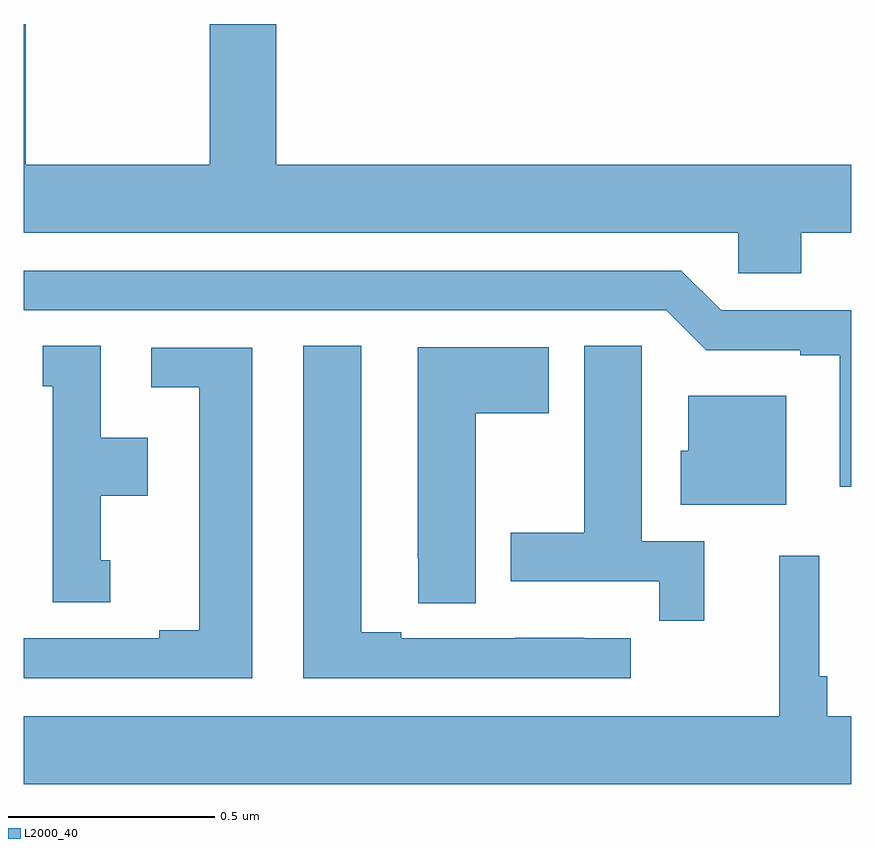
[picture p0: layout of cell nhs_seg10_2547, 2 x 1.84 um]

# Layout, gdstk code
import gdstk
lib = gdstk.Library(unit=1e-6, precision=1e-09)
def P(c, l, *ps):  # polygons
    for p in ps: c.add(gdstk.Polygon(p, *l))
L2000_40 = (2000, 40)

nhs_seg10_2547 = lib.new_cell('nhs_seg10_2547')
P(nhs_seg10_2547, L2000_40, [(143.879,1286.996),(144,1286.996),(144,1287.16),(142.61,1287.16),(142.61,1287.5),(142.45,1287.5),(142.45,1287.16),(142.005,1287.16),(142.005,1287.5),(142,1287.5),(142,1286.996),(143.727,1286.996),(143.727,1286.898),(143.879,1286.898)],
  [(144,1286.808),(143.685,1286.808),(143.589,1286.904),(142,1286.904),(142,1286.808),(143.553,1286.808),(143.649,1286.712),(143.876,1286.712),(143.876,1286.7),(143.972,1286.7),(143.972,1286.382),(144,1286.382)],
  [(143.467,1286.016),(143.354,1286.016),(143.354,1286.017),(143.188,1286.017),(143.188,1286.016),(142.912,1286.016),(142.912,1286.031),(142.816,1286.031),(142.816,1286.723),(142.676,1286.723),(142.676,1285.92),(143.467,1285.92)],
  [(143.645,1286.25),(143.494,1286.25),(143.494,1286.612),(143.493,1286.612),(143.493,1286.723),(143.354,1286.723),(143.354,1286.271),(143.177,1286.271),(143.177,1286.154),(143.536,1286.154),(143.536,1286.058),(143.645,1286.058)],
  [(142.21,1286.205),(142.186,1286.205),(142.186,1286.36),(142.3,1286.36),(142.3,1286.5),(142.186,1286.5),(142.186,1286.723),(142.046,1286.723),(142.046,1286.625),(142.07,1286.625),(142.07,1286.103),(142.21,1286.103)],
  [(143.092,1286.56),(143.269,1286.56),(143.269,1286.719),(142.952,1286.719),(142.952,1286.209),(142.953,1286.209),(142.953,1286.101),(143.092,1286.101)],
  [(142.552,1286.718),(142.308,1286.718),(142.308,1286.622),(142.424,1286.622),(142.424,1286.036),(142.328,1286.036),(142.328,1286.016),(142,1286.016),(142,1285.92),(142.552,1285.92)],
  [(143.842,1286.602),(143.606,1286.602),(143.606,1286.469),(143.588,1286.469),(143.588,1286.339),(143.842,1286.339)],
  [(144,1285.828),(143.942,1285.828),(143.942,1285.924),(143.922,1285.924),(143.922,1286.215),(143.825,1286.215),(143.825,1285.828),(142,1285.828),(142,1285.664),(144,1285.664)])

lib.write_gds('nhs_seg10_2547.gds')
